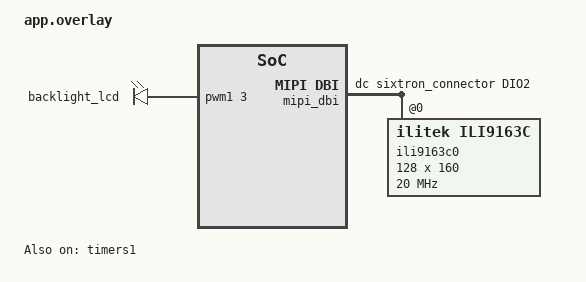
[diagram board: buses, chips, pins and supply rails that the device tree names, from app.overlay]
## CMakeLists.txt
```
# Copyright (c) 2024, CATIE
# SPDX-License-Identifier: Apache-2.0

cmake_minimum_required(VERSION 3.20.0)

find_package(Zephyr REQUIRED HINTS $ENV{ZEPHYR_BASE})
project(ili9163c)

FILE(GLOB app_sources src/main.c)
target_sources(app PRIVATE ${app_sources})
```

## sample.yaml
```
sample:
  name: Ili9163c display sample
tests:
  sample.default:
    tags: display
    integration_platforms:
      - zest_core_stm32l4a6rg
    depends_on: spi
    extra_args: DTC_OVERLAY_FILE=sixtron_bus.overlay
```

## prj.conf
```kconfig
CONFIG_HEAP_MEM_POOL_SIZE=16384
CONFIG_MAIN_STACK_SIZE=2048

CONFIG_DISPLAY=y
CONFIG_DISPLAY_LOG_LEVEL_ERR=y

CONFIG_LOG=y
CONFIG_LOG_DEFAULT_LEVEL=3
```

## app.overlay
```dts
/*
 * Copyright (c) 2024, CATIE
 * SPDX-License-Identifier: Apache-2.0
 */

 #include <zephyr/dt-bindings/input/input-event-codes.h>
 #include <zephyr/dt-bindings/lvgl/lvgl.h>
 #include <zephyr/dt-bindings/gpio/sixtron-header.h>
 #include <zephyr/dt-bindings/display/ili9xxx.h>
 
  &timers1 {
	 status = "okay";
	 st,prescaler = <1000>;
 };
 
 / {
	 aliases {
		 pwm-dev-0 = &pwm1;
	 };
	 pwm_devices {
		 status = "okay";
		 compatible = "pwm-leds";
 
		 backlight_lcd: pwm_dev_0 {
			 status = "okay";
			 pwms = <&pwm1 3 2000000 PWM_POLARITY_NORMAL>;
		 };
	 };
 };
 
 / {
	 chosen {
		 zephyr,display = &ili9163c0;
	 };
 
	 mipi_dbi {
		 compatible = "zephyr,mipi-dbi-spi";
		 dc-gpios = <&sixtron_connector DIO2 GPIO_ACTIVE_HIGH>;  /* Data/Command */
		 spi-dev = <&sixtron_spi>;
		 #address-cells = <1>;
		 #size-cells = <0>;
		 write-only;
 
		 ili9163c0: ili9163c@0 {
			 compatible = "ilitek,ili9163c";
			 mipi-max-frequency = <20000000>;  // 20MHz
			 reg = <0>;
			 pixel-format = <1>;
			 width = <128>;  
			 height = <160>;  
			 rotation = <90>;
			 madctl = [00];
			 frmctr1 = [08 08];
			 pgamctrl = [3F 25 1C 1E 20 12 2A 90 24 11 00 00 00 00 00];
			 ngamctrl = [20 20 20 20 05 00 15 A7 3D 18 25 2A 2B 2B 3A];
			 pwctrl1 = [0A 02];
			 pwctrl2 = [02];
			 vmctrl1 = [55 60];
			 vmctrl2 = [45];
			 gamset = [04];  
			 gamadj = [01];    
			 dispinv = [07];    
		 };
	 };
 };
```

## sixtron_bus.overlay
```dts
/*
 * Copyright (c) 2024, CATIE
 * SPDX-License-Identifier: Apache-2.0
 */

#include <zephyr/dt-bindings/gpio/sixtron-header.h>
#include <zephyr/dt-bindings/display/panel.h>

/ {
	chosen {
		zephyr,display = &ili9163c;
	};

	mipi_dbi {
		compatible = "zephyr,mipi-dbi-spi";
		dc-gpios = <&sixtron_connector DIO2 GPIO_ACTIVE_HIGH>;  /* Data/Command */
		spi-dev = <&sixtron_spi>;
		#address-cells = <1>;
		#size-cells = <0>;
		write-only;

		ili9163c: ili9163c@0 {
			compatible = "ilitek,ili9163c";
			mipi-max-frequency = <20000000>;  /* 20MHz */
			reg = <0>; /* Chip select index for SPI bus */
			pixel-format = <PANEL_PIXEL_FORMAT_RGB_888>;
			width = <128>;
			height = <160>;
			rotation = <0>;
			pwms = <&sixtron_pwm PWM1 1000000 PWM_POLARITY_NORMAL>;
		};
	};
};
```

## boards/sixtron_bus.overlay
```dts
/*
 * Copyright (c) 2024, CATIE
 * SPDX-License-Identifier: Apache-2.0
 */

#include <zephyr/dt-bindings/gpio/sixtron-header.h>
#include <zephyr/dt-bindings/display/panel.h>

/ {
	chosen {
		zephyr,display = &ili9163c;
	};

	pwm_devices {
		status = "okay";
		compatible = "pwm-leds";

		backlight_lcd: pwm-dev {
			status = "okay";
			pwms = <&pwm1 3 2000000 PWM_POLARITY_NORMAL>;
		};
	};

	mipi_dbi {
		compatible = "zephyr,mipi-dbi-spi";
		dc-gpios = <&sixtron_connector DIO2 GPIO_ACTIVE_HIGH>;  /* Data/Command */
		spi-dev = <&sixtron_spi>;
		#address-cells = <1>;
		#size-cells = <0>;
		write-only;

		ili9163c: ili9163c@0 {
			compatible = "ilitek,ili9163c";
			mipi-max-frequency = <20000000>;  // 20MHz
			reg = <0>;
			pixel-format = <PANEL_PIXEL_FORMAT_RGB_888>;
			width = <128>;
			height = <160>;
			rotation = <0>;
		};
	};
};

&timers1 {
	status = "okay";
	st,prescaler = <1000>;
};
```

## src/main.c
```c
/*
 * Copyright (c) 2024, CATIE
 * SPDX-License-Identifier: Apache-2.0
 */

#include <zephyr/kernel.h>
#include <zephyr/device.h>
#include <zephyr/drivers/display.h>
#include <zephyr/drivers/gpio.h>
#include <zephyr/drivers/pwm.h>
#include <stdio.h>
#include <string.h>

#define LOG_LEVEL CONFIG_LOG_DEFAULT_LEVEL
#include <zephyr/logging/log.h>
LOG_MODULE_REGISTER(app);

// Display variables
enum corner {
	TOP_LEFT,
	TOP_RIGHT,
	BOTTOM_RIGHT,
	BOTTOM_LEFT
};
const struct device *display_dev = DEVICE_DT_GET(DT_CHOSEN(zephyr_display));
struct display_capabilities capabilities;

#define BACKLIGHT_MAX_BRIGHTNESS 255
#define BACKLIGHT_MIN_BRIGHTNESS 0
static bool blinking = true;
static int direction = 1;
static int increment = 5;
static int ratio = BACKLIGHT_MAX_BRIGHTNESS;

int setup_pwm(void)
{
	int err;

	err = display_set_brightness(display_dev, BACKLIGHT_MAX_BRIGHTNESS);
	if (err < 0) {
		LOG_ERR("ERROR! [%d]", err);
		return err;
	}

	return 0;
}

void update_pwm(void)
{
	int err;
	if (ratio >= BACKLIGHT_MAX_BRIGHTNESS) {
		direction = -1;
	} else if (ratio <= BACKLIGHT_MIN_BRIGHTNESS) {
		direction = 1;
	}
	ratio += direction * increment;

	err = display_set_brightness(display_dev, ratio);
	if (err < 0) {
		LOG_ERR("ERROR! [%d]", err);
	} else {
		LOG_INF("Set pulse to [%d/255]", ratio);
	}
}

typedef void (*fill_buffer)(enum corner corner, uint8_t grey, uint8_t *buf, size_t buf_size);

static void fill_buffer_argb8888(enum corner corner, uint8_t grey, uint8_t *buf, size_t buf_size)
{
	uint32_t color = 0;

	switch (corner) {
	case TOP_LEFT:
		color = 0x00F18700u;
		break;
	case TOP_RIGHT:
		color = 0x0000b0ebu;
		break;
	case BOTTOM_RIGHT:
		color = 0x00a2c857u;
		break;
	case BOTTOM_LEFT:
		color = 0x00585757u;
		break;
	}

	for (size_t idx = 0; idx < buf_size; idx += 4) {
		*((uint32_t *)(buf + idx)) = color;
	}
}

static void fill_buffer_rgb888(enum corner corner, uint8_t grey, uint8_t *buf, size_t buf_size)
{
	uint32_t color = 0;

	switch (corner) {
	case TOP_LEFT:
		color = 0x00F18700u;
		break;
	case TOP_RIGHT:
		color = 0x0000b0ebu;
		break;
	case BOTTOM_RIGHT:
		color = 0x00a2c857u;
		break;
	case BOTTOM_LEFT:
		color = 0x00585757u;
		break;
	}

	for (size_t idx = 0; idx < buf_size; idx += 3) {
		*(buf + idx + 0) = color >> 16;
		*(buf + idx + 1) = color >> 8;
		*(buf + idx + 2) = color >> 0;
	}
}

static uint16_t get_rgb565_color(enum corner corner, uint8_t grey)
{
	uint32_t color = 0;

	switch (corner) {
	case TOP_LEFT:
		color = 0xF18700u;
		break;
	case TOP_RIGHT:
		color = 0x00b0ebu;
		break;
	case BOTTOM_RIGHT:
		color = 0xa2c857u;
		break;
	case BOTTOM_LEFT:
		color = 0x585757u;
		break;
	}
	return color;
}

static void fill_buffer_rgb565(enum corner corner, uint8_t grey, uint8_t *buf, size_t buf_size)
{
	uint16_t color = get_rgb565_color(corner, grey);

	for (size_t idx = 0; idx < buf_size; idx += 2) {
		*(buf + idx + 0) = (color >> 8) & 0xFFu;
		*(buf + idx + 1) = (color >> 0) & 0xFFu;
	}
}

static void fill_buffer_bgr565(enum corner corner, uint8_t grey, uint8_t *buf, size_t buf_size)
{
	uint16_t color = get_rgb565_color(corner, grey);

	for (size_t idx = 0; idx < buf_size; idx += 2) {
		*(uint16_t *)(buf + idx) = color;
	}
}

static void fill_buffer_mono(enum corner corner, uint8_t grey, uint8_t black, uint8_t white,
			     uint8_t *buf, size_t buf_size)
{
	uint16_t color;

	switch (corner) {
	case BOTTOM_LEFT:
		color = (grey & 0x01u) ? white : black;
		break;
	default:
		color = black;
		break;
	}

	memset(buf, color, buf_size);
}

static inline void fill_buffer_mono01(enum corner corner, uint8_t grey, uint8_t *buf,
				      size_t buf_size)
{
	fill_buffer_mono(corner, grey, 0x00u, 0xFFu, buf, buf_size);
}

static inline void fill_buffer_mono10(enum corner corner, uint8_t grey, uint8_t *buf,
				      size_t buf_size)
{
	fill_buffer_mono(corner, grey, 0xFFu, 0x00u, buf, buf_size);
}

static int initialize_display(const struct device **display_dev,
			      struct display_capabilities *capabilities)
{
	if (!device_is_ready(*display_dev)) {
		LOG_ERR("Device not ready, aborting test");
		return -ENODEV;
	}

	display_get_capabilities(*display_dev, capabilities);
	display_blanking_off(*display_dev);

	return 0;
}

static int allocate_buffer(uint8_t **buf, size_t buf_size)
{
	*buf = k_malloc(buf_size);
	if (*buf == NULL) {
		LOG_ERR("Could not allocate memory. Aborting sample.");
		return -ENOMEM;
	}

	return 0;
}

static void fill_display(const struct device *display_dev,
			 struct display_capabilities *capabilities, uint8_t *buf, size_t buf_size,
			 fill_buffer fill_buffer_fnc)
{
	struct display_buffer_descriptor buf_desc;
	size_t rect_w, rect_h, h_step, scale;
	uint8_t bg_color;
	size_t x, y, grey_count;
	int32_t grey_scale_sleep;

	if (capabilities->screen_info & SCREEN_INFO_MONO_VTILED) {
		rect_w = 16;
		rect_h = 8;
	} else {
		rect_w = 2;
		rect_h = 1;
	}

	if ((capabilities->x_resolution < 3 * rect_w) ||
	    (capabilities->y_resolution < 3 * rect_h) ||
	    (capabilities->x_resolution < 8 * rect_h)) {
		rect_w = capabilities->x_resolution * 40 / 100;
		rect_h = capabilities->y_resolution * 40 / 100;
		h_step = capabilities->y_resolution * 20 / 100;
		scale = 1;
	} else {
		h_step = rect_h;
		scale = (capabilities->x_resolution / 8) / rect_h;
	}

	rect_w *= scale;
	rect_h *= scale;

	if (capabilities->screen_info & SCREEN_INFO_EPD) {
		grey_scale_sleep = 10000;
	} else {
		grey_scale_sleep = 100;
	}

	buf_size = rect_w * rect_h;

	if (buf_size < (capabilities->x_resolution * h_step)) {
		buf_size = capabilities->x_resolution * h_step;
	}

	switch (capabilities->current_pixel_format) {
	case PIXEL_FORMAT_ARGB_8888:
		bg_color = 0xFFu;
		fill_buffer_fnc = fill_buffer_argb8888;
		buf_size *= 4;
		break;
	case PIXEL_FORMAT_RGB_888:
		bg_color = 0xFFu;
		fill_buffer_fnc = fill_buffer_rgb888;
		buf_size *= 3;
		break;
	case PIXEL_FORMAT_RGB_565:
		bg_color = 0xFFu;
		fill_buffer_fnc = fill_buffer_rgb565;
		buf_size *= 2;
		break;
	case PIXEL_FORMAT_BGR_565:
		bg_color = 0xFFu;
		fill_buffer_fnc = fill_buffer_bgr565;
		buf_size *= 2;
		break;
	case PIXEL_FORMAT_MONO01:
		bg_color = 0xFFu;
		fill_buffer_fnc = fill_buffer_mono01;
		buf_size = DIV_ROUND_UP(DIV_ROUND_UP(buf_size, NUM_BITS(uint8_t)), sizeof(uint8_t));
		break;
	case PIXEL_FORMAT_MONO10:
		bg_color = 0x00u;
		fill_buffer_fnc = fill_buffer_mono10;
		buf_size = DIV_ROUND_UP(DIV_ROUND_UP(buf_size, NUM_BITS(uint8_t)), sizeof(uint8_t));
		break;
	default:
		LOG_ERR("Unsupported pixel format. Aborting sample.");
		return;
	}

	(void)memset(buf, bg_color, buf_size);

	buf_desc.buf_size = buf_size;
	buf_desc.pitch = capabilities->x_resolution;
	buf_desc.width = capabilities->x_resolution;
	buf_desc.height = h_step;

	for (int idx = 0; idx < capabilities->y_resolution; idx += h_step) {
		if ((capabilities->y_resolution - idx) < h_step) {
			buf_desc.height = (capabilities->y_resolution - idx);
		}
		display_write(display_dev, 0, idx, &buf_desc, buf);
	}

	buf_desc.pitch = rect_w;
	buf_desc.width = rect_w;
	buf_desc.height = rect_h;

	fill_buffer_fnc(TOP_LEFT, 0, buf, buf_size);
	x = 0;
	y = 0;
	display_write(display_dev, x, y, &buf_desc, buf);

	fill_buffer_fnc(TOP_RIGHT, 0, buf, buf_size);
	x = capabilities->x_resolution - rect_w;
	y = 0;
	display_write(display_dev, x, y, &buf_desc, buf);

	fill_buffer_fnc(BOTTOM_RIGHT, 0, buf, buf_size);
	x = capabilities->x_resolution - rect_w;
	y = capabilities->y_resolution - rect_h;
	display_write(display_dev, x, y, &buf_desc, buf);

	display_blanking_off(display_dev);

	grey_count = 0;
	x = 0;
	y = capabilities->y_resolution - rect_h;
	fill_buffer_fnc(BOTTOM_LEFT, grey_count, buf, buf_size);
	display_write(display_dev, x, y, &buf_desc, buf);
}

int main(void)
{
	uint8_t *buf;
	size_t buf_size = 0;
	fill_buffer fill_buffer_fnc = NULL;

	if (initialize_display(&display_dev, &capabilities) < 0) {
		return 0;
	}

	LOG_INF("Display sample for %s", display_dev->name);
	display_get_capabilities(display_dev, &capabilities);

	if (setup_pwm() < 0) {
		return 0;
	}

	if (allocate_buffer(&buf, buf_size) < 0) {
		return 0;
	}

	fill_display(display_dev, &capabilities, buf, buf_size, fill_buffer_fnc);

	while (1) {
		if (blinking) {
			update_pwm();
		}

		k_sleep(K_MSEC(10));
	}

	return 0;
}
```
